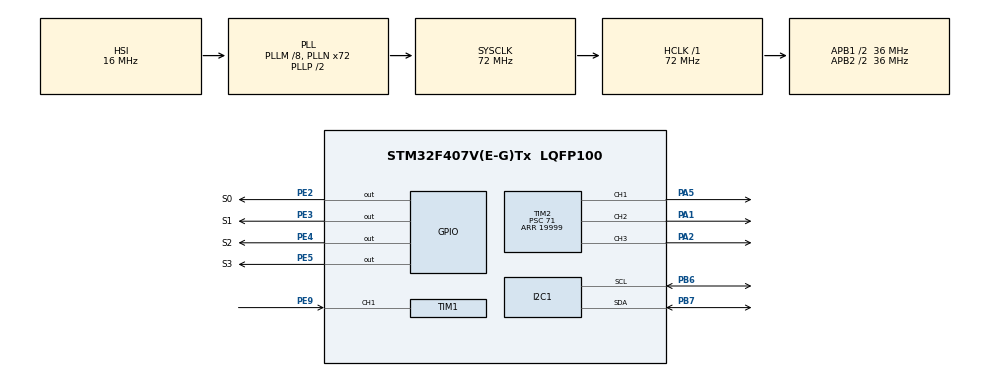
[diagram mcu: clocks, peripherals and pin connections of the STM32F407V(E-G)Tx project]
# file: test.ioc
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Mcu.Family=STM32F4
Mcu.Name=STM32F407V(E-G)Tx
Mcu.Package=LQFP100
NVIC.PriorityGroup=NVIC_PRIORITYGROUP_4
NVIC.TIM1_CC_IRQn=true\:0\:0\:false\:false\:true\:true\:true\:true
NVIC.TIM3_IRQn=true\:0\:0\:false\:false\:true\:true\:true\:true
PA1.Signal=S_TIM2_CH2
PA13.Mode=Serial_Wire
PA13.Signal=SYS_JTMS-SWDIO
PA14.Mode=Serial_Wire
PA14.Signal=SYS_JTCK-SWCLK
PA2.Signal=S_TIM2_CH3
PA5.Signal=S_TIM2_CH1_ETR
PB6.Mode=I2C
PB6.Signal=I2C1_SCL
PB7.Mode=I2C
PB7.Signal=I2C1_SDA
PE2.GPIO_Label=S0
PE2.PinState=GPIO_PIN_RESET
PE2.Signal=GPIO_Output
PE3.GPIO_Label=S1
PE3.PinState=GPIO_PIN_RESET
PE3.Signal=GPIO_Output
PE4.GPIO_Label=S2
PE4.PinState=GPIO_PIN_RESET
PE4.Signal=GPIO_Output
PE5.GPIO_Label=S3
PE5.PinState=GPIO_PIN_RESET
PE5.Signal=GPIO_Output
PE9.Signal=S_TIM1_CH1
PH0-OSC_IN.Mode=HSE-External-Oscillator
PH0-OSC_IN.Signal=RCC_OSC_IN
PH1-OSC_OUT.Mode=HSE-External-Oscillator
PH1-OSC_OUT.Signal=RCC_OSC_OUT
ProjectManager.HeapSize=0x200
ProjectManager.StackSize=0x400
ProjectManager.TargetToolchain=STM32CubeIDE
RCC.48MHZClocksFreq_Value=36000000
RCC.AHBFreq_Value=72000000
RCC.APB1CLKDivider=RCC_HCLK_DIV2
RCC.APB1Freq_Value=36000000
RCC.APB1TimFreq_Value=72000000
RCC.APB2CLKDivider=RCC_HCLK_DIV2
RCC.APB2Freq_Value=36000000
RCC.APB2TimFreq_Value=72000000
RCC.CortexFreq_Value=72000000
RCC.HCLKFreq_Value=72000000
RCC.HSE_VALUE=8000000
RCC.HSI_VALUE=16000000
RCC.LSE_VALUE=32768
RCC.PLLM=8
RCC.PLLN=72
RCC.SYSCLKFreq_VALUE=72000000
RCC.SYSCLKSource=RCC_SYSCLKSOURCE_PLLCLK
RCC.VCOOutputFreq_Value=144000000
SH.S_TIM1_CH1.0=TIM1_CH1,Input_Capture1_from_TI1
SH.S_TIM2_CH1_ETR.0=TIM2_CH1,PWM Generation1 CH1
SH.S_TIM2_CH2.0=TIM2_CH2,PWM Generation2 CH2
SH.S_TIM2_CH3.0=TIM2_CH3,PWM Generation3 CH3
TIM1.Channel-Input_Capture1_from_TI1=TIM_CHANNEL_1
TIM1.Period=49999
TIM1.Prescaler=71
TIM2.Channel-PWM\ Generation1\ CH1=TIM_CHANNEL_1
TIM2.Channel-PWM\ Generation2\ CH2=TIM_CHANNEL_2
TIM2.Channel-PWM\ Generation3\ CH3=TIM_CHANNEL_3
TIM2.Period=19999
TIM2.Prescaler=71
TIM2.Pulse-PWM\ Generation1\ CH1=0
TIM3.AutoReloadPreload=TIM_AUTORELOAD_PRELOAD_DISABLE
TIM3.Period=49999
TIM3.Prescaler=71
VP_TIM1_VS_ClockSourceINT.Mode=Internal
VP_TIM2_VS_ClockSourceINT.Mode=Internal
VP_TIM3_VS_ClockSourceINT.Mode=Internal
board=custom

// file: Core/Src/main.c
/* USER CODE BEGIN Header */
/**
  ******************************************************************************
  * @file           : main.c
  * @brief          : Main program body
  ******************************************************************************
  * @attention
  *
  * Copyright (c) 2025 STMicroelectronics.
  * All rights reserved.
  *
  * This software is licensed under terms that can be found in the LICENSE file
  * in the root directory of this software component.
  * If no LICENSE file comes with this software, it is provided AS-IS.
  *
  ******************************************************************************
  */
/* USER CODE END Header */
#include "main.h"

/* USER CODE BEGIN Includes */
#include "TCS230.h"
#include "Servo_sg.h"
#include "object.h"
#include "i2c-lcd.h"
/* USER CODE END Includes */

I2C_HandleTypeDef hi2c1;

TIM_HandleTypeDef htim1;
TIM_HandleTypeDef htim2;
TIM_HandleTypeDef htim3;

/* USER CODE BEGIN PV */
TCS_HandleTypeDef TCS;

uint8_t CaptureColorflag = 0;
uint8_t switchColorFlag = 0;

uint16_t Output = 0;
uint16_t curr_color;
uint16_t Output_RED = 0;
uint16_t Output_GREEN = 0;
uint16_t Output_BLUE = 0;
uint16_t red_count = 0;
uint16_t green_count = 0;
uint16_t blue_count = 0;
/* USER CODE END PV */

void SystemClock_Config(void);
static void MX_GPIO_Init(void);
static void MX_TIM1_Init(void);
static void MX_TIM2_Init(void);
static void MX_TIM3_Init(void);
static void MX_I2C1_Init(void);

/* USER CODE BEGIN 0 */
void fre(volatile uint16_t* pre_icValue, volatile uint16_t* freqValue)
{
	uint16_t icValue = __HAL_TIM_GET_COMPARE(&htim1, TIM_CHANNEL_1);
	uint16_t T = icValue - *pre_icValue;
	*freqValue = 1000000 / T;
	*pre_icValue = icValue;
}

void HAL_TIM_IC_CaptureCallback(TIM_HandleTypeDef *htim)
{
	if (htim->Instance == TIM1)
	{
		CaptureColorflag = 1;
	}
}

void HAL_TIM_PeriodElapsedCallback(TIM_HandleTypeDef *htim)
{
	if (htim->Instance == TIM3)
	{
		switchColorFlag = 1;
	}
}

/* USER CODE END 0 */

int main(void)
{

  /* MCU Configuration--------------------------------------------------------*/

  /* Reset of all peripherals, Initializes the Flash interface and the Systick. */
  HAL_Init();

  /* Configure the system clock */
  SystemClock_Config();

  /* Initialize all configured peripherals */
  MX_GPIO_Init();
  MX_TIM1_Init();
  MX_TIM2_Init();
  MX_TIM3_Init();
  MX_I2C1_Init();
  /* USER CODE BEGIN 2 */
  HAL_TIM_IC_Start_IT(&htim1, TIM_CHANNEL_1);
  HAL_TIM_PWM_Start(&htim2, TIM_CHANNEL_1);
  HAL_TIM_Base_Start_IT(&htim3);

  Servo_Init();

  int last_color = 0;
  int last_output = 0;

  /* USER CODE END 2 */

  /* Infinite loop */
  /* USER CODE BEGIN WHILE */
  TCS230_Init2(&TCS, &Output_RED, &Output_GREEN, &Output_BLUE, &Output);
//  TCS230_Init(&TCS, &Output);
  Queue q;
  Queue q1;
  Queue_InitQueue(&q);
  Queue_InitQueue(&q1);

  Servo_Run(1, 30);
  Servo_Run(2, 180);

  lcd_init();
  lcd_goto_XY(1, 1);
  char str[10];
  int color_point = 0;
  int max_color_point = 12;
  int add_en = 0;
  int max_add_en = 200;
  while (1)
  {
    /* USER CODE END WHILE */

    /* USER CODE BEGIN 3 */
	  for(int i = 0 ; i < MAX_SIZE ; i++){
		  if(q.items[i].time > 0) q.items[i].time--;
	  }

	  if (CaptureColorflag)
	  {
		  CaptureColorflag = 0;
		  calculateFrequency(&TCS);
	  }
	  if (switchColorFlag)
	  {
		  switchColorFlag = 0;
		  switchColor(&TCS);
	  }
	  determineColor(&TCS);

	  if(Output == last_output){
		  color_point++;
	  }
	  else{
		  color_point=0;
	  }
	  if(color_point >= max_color_point){
		  curr_color = Output;
		  color_point = max_color_point;
	  }
	  if(curr_color != last_color && curr_color != CLEAR && add_en >= max_add_en){
		  Object obj;
		  if (curr_color != GREEN) {
			  Object_InitObject(&obj, curr_color, 1200);
			  Queue_Push(&q, obj);
		  }
	  	  switch (curr_color)
	  	  {
	  		  case RED:
	  			  red_count++;
	  			  break;
	  		  case BLUE:
	  			  blue_count++;
	  			  break;
	  		  case GREEN:
	  			  green_count++;
	  			  break;
	  	  }
	  	  add_en = 0;
	  }

	  if(!Queue_isEmpty(&q)){
		  if(Queue_Front(&q).time < 1180){
			  if(Queue_Front(&q).color == RED){
				  Servo_Run(1, 75);
			  }
			  else if(Queue_Front(&q).color == BLUE){
				  Servo_Run(2, 140);
			  }
			  else{
				  Servo_Run(1, 30);
				  Servo_Run(2, 180);
			  }
		  }
		  if(Queue_Front(&q).time <= 950){
			  Queue_Pop(&q);
			  Servo_Run(1, 30);
			  Servo_Run(2, 180);
		  }
	  }
	  last_output = Output;
	  last_color = curr_color;
	  add_en++;
	  if(add_en > max_add_en) add_en = max_add_en;

	  sprintf(str,"R:%d B:%d G:%d",red_count,blue_count,green_count);
	  lcd_goto_XY(1, 1);
	  lcd_send_string(str);

  }
  /* USER CODE END 3 */
}

void SystemClock_Config(void)
{
  RCC_OscInitTypeDef RCC_OscInitStruct = {0};
  RCC_ClkInitTypeDef RCC_ClkInitStruct = {0};

  /** Configure the main internal regulator output voltage
  */
  __HAL_RCC_PWR_CLK_ENABLE();
  __HAL_PWR_VOLTAGESCALING_CONFIG(PWR_REGULATOR_VOLTAGE_SCALE1);

  /** Initializes the RCC Oscillators according to the specified parameters
  * in the RCC_OscInitTypeDef structure.
  */
  RCC_OscInitStruct.OscillatorType = RCC_OSCILLATORTYPE_HSI;
  RCC_OscInitStruct.HSIState = RCC_HSI_ON;
  RCC_OscInitStruct.HSICalibrationValue = RCC_HSICALIBRATION_DEFAULT;
  RCC_OscInitStruct.PLL.PLLState = RCC_PLL_ON;
  RCC_OscInitStruct.PLL.PLLSource = RCC_PLLSOURCE_HSI;
  RCC_OscInitStruct.PLL.PLLM = 8;
  RCC_OscInitStruct.PLL.PLLN = 72;
  RCC_OscInitStruct.PLL.PLLP = RCC_PLLP_DIV2;
  RCC_OscInitStruct.PLL.PLLQ = 4;
  if (HAL_RCC_OscConfig(&RCC_OscInitStruct) != HAL_OK)
  {
    Error_Handler();
  }

  /** Initializes the CPU, AHB and APB buses clocks
  */
  RCC_ClkInitStruct.ClockType = RCC_CLOCKTYPE_HCLK|RCC_CLOCKTYPE_SYSCLK
                              |RCC_CLOCKTYPE_PCLK1|RCC_CLOCKTYPE_PCLK2;
  RCC_ClkInitStruct.SYSCLKSource = RCC_SYSCLKSOURCE_PLLCLK;
  RCC_ClkInitStruct.AHBCLKDivider = RCC_SYSCLK_DIV1;
  RCC_ClkInitStruct.APB1CLKDivider = RCC_HCLK_DIV2;
  RCC_ClkInitStruct.APB2CLKDivider = RCC_HCLK_DIV2;

  if (HAL_RCC_ClockConfig(&RCC_ClkInitStruct, FLASH_LATENCY_2) != HAL_OK)
  {
    Error_Handler();
  }
}

static void MX_I2C1_Init(void)
{

  hi2c1.Instance = I2C1;
  hi2c1.Init.ClockSpeed = 100000;
  hi2c1.Init.DutyCycle = I2C_DUTYCYCLE_2;
  hi2c1.Init.OwnAddress1 = 0;
  hi2c1.Init.AddressingMode = I2C_ADDRESSINGMODE_7BIT;
  hi2c1.Init.DualAddressMode = I2C_DUALADDRESS_DISABLE;
  hi2c1.Init.OwnAddress2 = 0;
  hi2c1.Init.GeneralCallMode = I2C_GENERALCALL_DISABLE;
  hi2c1.Init.NoStretchMode = I2C_NOSTRETCH_DISABLE;
  if (HAL_I2C_Init(&hi2c1) != HAL_OK)
  {
    Error_Handler();
  }

}

static void MX_TIM1_Init(void)
{

  TIM_ClockConfigTypeDef sClockSourceConfig = {0};
  TIM_MasterConfigTypeDef sMasterConfig = {0};
  TIM_IC_InitTypeDef sConfigIC = {0};

  htim1.Instance = TIM1;
  htim1.Init.Prescaler = 71;
  htim1.Init.CounterMode = TIM_COUNTERMODE_UP;
  htim1.Init.Period = 49999;
  htim1.Init.ClockDivision = TIM_CLOCKDIVISION_DIV1;
  htim1.Init.RepetitionCounter = 0;
  htim1.Init.AutoReloadPreload = TIM_AUTORELOAD_PRELOAD_DISABLE;
  if (HAL_TIM_Base_Init(&htim1) != HAL_OK)
  {
    Error_Handler();
  }
  sClockSourceConfig.ClockSource = TIM_CLOCKSOURCE_INTERNAL;
  if (HAL_TIM_ConfigClockSource(&htim1, &sClockSourceConfig) != HAL_OK)
  {
    Error_Handler();
  }
  if (HAL_TIM_IC_Init(&htim1) != HAL_OK)
  {
    Error_Handler();
  }
  sMasterConfig.MasterOutputTrigger = TIM_TRGO_RESET;
  sMasterConfig.MasterSlaveMode = TIM_MASTERSLAVEMODE_DISABLE;
  if (HAL_TIMEx_MasterConfigSynchronization(&htim1, &sMasterConfig) != HAL_OK)
  {
    Error_Handler();
  }
  sConfigIC.ICPolarity = TIM_INPUTCHANNELPOLARITY_RISING;
  sConfigIC.ICSelection = TIM_ICSELECTION_DIRECTTI;
  sConfigIC.ICPrescaler = TIM_ICPSC_DIV1;
  sConfigIC.ICFilter = 0;
  if (HAL_TIM_IC_ConfigChannel(&htim1, &sConfigIC, TIM_CHANNEL_1) != HAL_OK)
  {
    Error_Handler();
  }

}

static void MX_TIM2_Init(void)
{

  TIM_ClockConfigTypeDef sClockSourceConfig = {0};
  TIM_MasterConfigTypeDef sMasterConfig = {0};
  TIM_OC_InitTypeDef sConfigOC = {0};

  htim2.Instance = TIM2;
  htim2.Init.Prescaler = 71;
  htim2.Init.CounterMode = TIM_COUNTERMODE_UP;
  htim2.Init.Period = 19999;
  htim2.Init.ClockDivision = TIM_CLOCKDIVISION_DIV1;
  htim2.Init.AutoReloadPreload = TIM_AUTORELOAD_PRELOAD_DISABLE;
  if (HAL_TIM_Base_Init(&htim2) != HAL_OK)
  {
    Error_Handler();
  }
  sClockSourceConfig.ClockSource = TIM_CLOCKSOURCE_INTERNAL;
  if (HAL_TIM_ConfigClockSource(&htim2, &sClockSourceConfig) != HAL_OK)
  {
    Error_Handler();
  }
  if (HAL_TIM_PWM_Init(&htim2) != HAL_OK)
  {
    Error_Handler();
  }
  sMasterConfig.MasterOutputTrigger = TIM_TRGO_RESET;
  sMasterConfig.MasterSlaveMode = TIM_MASTERSLAVEMODE_DISABLE;
  if (HAL_TIMEx_MasterConfigSynchronization(&htim2, &sMasterConfig) != HAL_OK)
  {
    Error_Handler();
  }
  sConfigOC.OCMode = TIM_OCMODE_PWM1;
  sConfigOC.Pulse = 0;
  sConfigOC.OCPolarity = TIM_OCPOLARITY_HIGH;
  sConfigOC.OCFastMode = TIM_OCFAST_DISABLE;
  if (HAL_TIM_PWM_ConfigChannel(&htim2, &sConfigOC, TIM_CHANNEL_1) != HAL_OK)
  {
    Error_Handler();
  }
  if (HAL_TIM_PWM_ConfigChannel(&htim2, &sConfigOC, TIM_CHANNEL_2) != HAL_OK)
  {
    Error_Handler();
  }
  if (HAL_TIM_PWM_ConfigChannel(&htim2, &sConfigOC, TIM_CHANNEL_3) != HAL_OK)
  {
    Error_Handler();
  }
  HAL_TIM_MspPostInit(&htim2);

}

static void MX_TIM3_Init(void)
{

  TIM_ClockConfigTypeDef sClockSourceConfig = {0};
  TIM_MasterConfigTypeDef sMasterConfig = {0};

  htim3.Instance = TIM3;
  htim3.Init.Prescaler = 71;
  htim3.Init.CounterMode = TIM_COUNTERMODE_UP;
  htim3.Init.Period = 49999;
  htim3.Init.ClockDivision = TIM_CLOCKDIVISION_DIV1;
  htim3.Init.AutoReloadPreload = TIM_AUTORELOAD_PRELOAD_DISABLE;
  if (HAL_TIM_Base_Init(&htim3) != HAL_OK)
  {
    Error_Handler();
  }
  sClockSourceConfig.ClockSource = TIM_CLOCKSOURCE_INTERNAL;
  if (HAL_TIM_ConfigClockSource(&htim3, &sClockSourceConfig) != HAL_OK)
  {
    Error_Handler();
  }
  sMasterConfig.MasterOutputTrigger = TIM_TRGO_RESET;
  sMasterConfig.MasterSlaveMode = TIM_MASTERSLAVEMODE_DISABLE;
  if (HAL_TIMEx_MasterConfigSynchronization(&htim3, &sMasterConfig) != HAL_OK)
  {
    Error_Handler();
  }

}

static void MX_GPIO_Init(void)
{
  GPIO_InitTypeDef GPIO_InitStruct = {0};

  /* GPIO Ports Clock Enable */
  __HAL_RCC_GPIOE_CLK_ENABLE();
  __HAL_RCC_GPIOH_CLK_ENABLE();
  __HAL_RCC_GPIOA_CLK_ENABLE();
  __HAL_RCC_GPIOB_CLK_ENABLE();

  /*Configure GPIO pin Output Level */
  HAL_GPIO_WritePin(GPIOE, S0_Pin|S1_Pin|S2_Pin|S3_Pin, GPIO_PIN_RESET);

  /*Configure GPIO pins : S0_Pin S1_Pin S2_Pin S3_Pin */
  GPIO_InitStruct.Pin = S0_Pin|S1_Pin|S2_Pin|S3_Pin;
  GPIO_InitStruct.Mode = GPIO_MODE_OUTPUT_PP;
  GPIO_InitStruct.Pull = GPIO_NOPULL;
  GPIO_InitStruct.Speed = GPIO_SPEED_FREQ_LOW;
  HAL_GPIO_Init(GPIOE, &GPIO_InitStruct);

}

void Error_Handler(void)
{
  __disable_irq();
  while (1)
  {
  }
}
